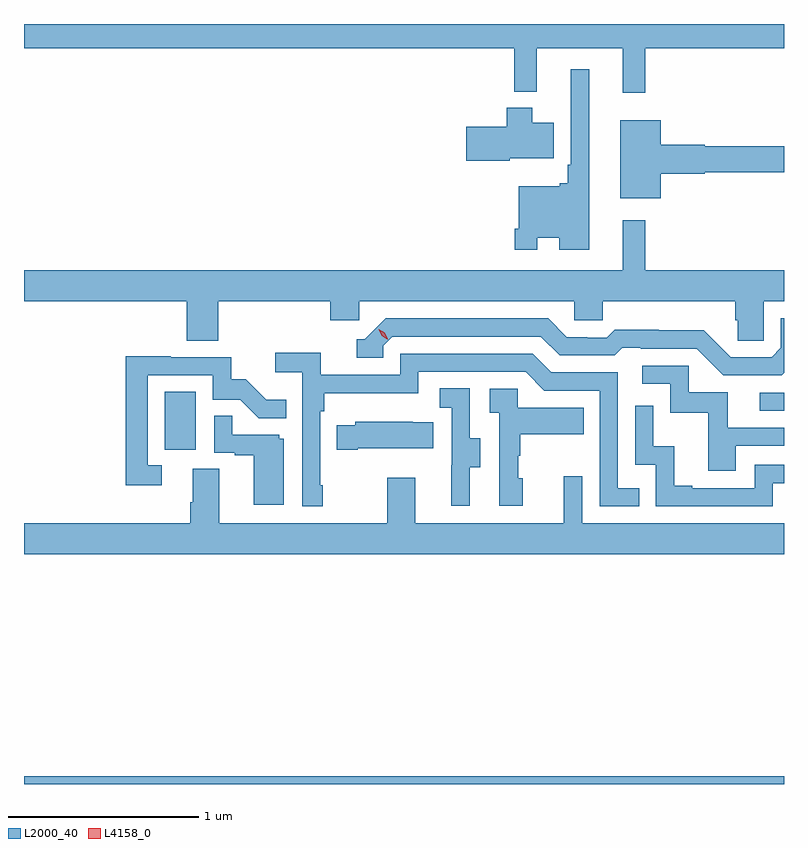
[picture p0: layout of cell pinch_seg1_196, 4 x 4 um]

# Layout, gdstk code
import gdstk
lib = gdstk.Library(unit=1e-6, precision=1e-09)
def R(c, l, rs):  # rectangles x0, y0, x1, y1
    for r in rs: c.add(gdstk.rectangle(r[:2], r[2:], *l))
def P(c, l, *ps):  # polygons
    for p in ps: c.add(gdstk.Polygon(p, *l))
L2000_40 = (2000, 40)
L4158_0 = (4158, 0)

pinch_seg1_196 = lib.new_cell('pinch_seg1_196')
R(pinch_seg1_196, L2000_40, [(1007.958,573.168,1011.958,573.208), (1008.698,574.926,1008.862,575.233), (1011.831,575.133,1011.958,575.226)])
P(pinch_seg1_196, L2000_40, [(1011.227,577.04),(1011.958,577.04),(1011.958,577.168),(1007.958,577.168),(1007.958,577.04),(1010.539,577.04),(1010.539,576.812),(1010.657,576.812),(1010.657,577.04),(1011.11,577.04),(1011.11,576.807),(1011.227,576.807)],
  [(1010.658,576.044),(1010.774,576.044),(1010.774,575.979),(1010.932,575.979),(1010.932,576.931),(1010.835,576.931),(1010.835,576.427),(1010.819,576.427),(1010.819,576.331),(1010.778,576.331),(1010.778,576.313),(1010.562,576.313),(1010.562,576.091),(1010.542,576.091),(1010.542,575.979),(1010.658,575.979)],
  [(1010.514,576.462),(1010.745,576.462),(1010.745,576.649),(1010.632,576.649),(1010.632,576.727),(1010.498,576.727),(1010.498,576.627),(1010.286,576.627),(1010.286,576.449),(1010.514,576.449)],
  [(1011.31,576.38),(1011.54,576.38),(1011.54,576.388),(1011.958,576.388),(1011.958,576.524),(1011.54,576.524),(1011.54,576.532),(1011.31,576.532),(1011.31,576.661),(1011.095,576.661),(1011.095,576.251),(1011.31,576.251)],
  [(1008.98,575.708),(1009.571,575.708),(1009.571,575.61),(1009.722,575.61),(1009.722,575.708),(1010.853,575.708),(1010.853,575.61),(1011.003,575.61),(1011.003,575.708),(1011.701,575.708),(1011.701,575.61),(1011.715,575.61),(1011.715,575.5),(1011.852,575.5),(1011.852,575.708),(1011.958,575.708),(1011.958,575.872),(1011.227,575.872),(1011.227,576.136),(1011.11,576.136),(1011.11,575.872),(1007.958,575.872),(1007.958,575.708),(1008.815,575.708),(1008.815,575.5),(1008.98,575.5)],
  [(1011.958,575.332),(1011.958,575.619),(1011.942,575.619),(1011.942,575.463),(1011.894,575.415),(1011.678,575.415),(1011.536,575.557),(1011.3,575.557),(1011.3,575.56),(1011.067,575.56),(1011.025,575.517),(1010.922,575.517),(1010.922,575.52),(1010.815,575.52),(1010.716,575.619),(1009.863,575.619),(1009.752,575.508),(1009.709,575.508),(1009.709,575.412),(1009.848,575.412),(1009.848,575.475),(1009.896,575.523),(1010.679,575.523),(1010.778,575.424),(1011.067,575.424),(1011.106,575.463),(1011.205,575.463),(1011.205,575.46),(1011.498,575.46),(1011.639,575.319),(1011.945,575.319)],
  [(1009.531,574.741),(1009.518,574.741),(1009.518,575.129),(1009.538,575.129),(1009.538,575.225),(1010.034,575.225),(1010.034,575.337),(1010.598,575.337),(1010.697,575.238),(1010.988,575.238),(1010.988,574.629),(1011.197,574.629),(1011.197,574.725),(1011.084,574.725),(1011.084,575.334),(1010.734,575.334),(1010.635,575.433),(1009.938,575.433),(1009.938,575.322),(1009.52,575.322),(1009.52,575.438),(1009.281,575.438),(1009.281,575.336),(1009.422,575.336),(1009.422,574.629),(1009.531,574.629)],
  [(1008.682,574.845),(1008.609,574.845),(1008.609,575.319),(1008.951,575.319),(1008.951,575.19),(1009.095,575.19),(1009.193,575.092),(1009.337,575.092),(1009.337,575.191),(1009.233,575.191),(1009.126,575.298),(1009.05,575.298),(1009.05,575.415),(1008.731,575.415),(1008.731,575.42),(1008.493,575.42),(1008.493,574.74),(1008.682,574.74)],
  [(1011.703,574.947),(1011.958,574.947),(1011.958,575.043),(1011.661,575.043),(1011.661,575.229),(1011.456,575.229),(1011.456,575.37),(1011.213,575.37),(1011.213,575.274),(1011.36,575.274),(1011.36,575.121),(1011.559,575.121),(1011.559,574.818),(1011.703,574.818)],
  [(1010.305,574.834),(1010.359,574.834),(1010.359,574.989),(1010.304,574.989),(1010.304,575.252),(1010.145,575.252),(1010.145,575.149),(1010.208,575.149),(1010.208,574.845),(1010.207,574.845),(1010.207,574.632),(1010.305,574.632)],
  [(1010.584,574.776),(1010.559,574.776),(1010.559,574.895),(1010.569,574.895),(1010.569,575.009),(1010.903,575.009),(1010.903,575.149),(1010.556,575.149),(1010.556,575.247),(1010.409,575.247),(1010.409,575.123),(1010.46,575.123),(1010.46,574.632),(1010.584,574.632)],
  [(1011.9,574.752),(1011.958,574.752),(1011.958,574.848),(1011.804,574.848),(1011.804,574.725),(1011.475,574.725),(1011.475,574.738),(1011.38,574.738),(1011.38,574.946),(1011.27,574.946),(1011.27,575.158),(1011.174,575.158),(1011.174,574.848),(1011.282,574.848),(1011.282,574.629),(1011.9,574.629)],
  [(1009.324,574.986),(1009.302,574.986),(1009.302,575.007),(1009.055,575.007),(1009.055,575.105),(1008.96,575.105),(1008.96,574.911),(1009.067,574.911),(1009.067,574.899),(1009.166,574.899),(1009.166,574.638),(1009.324,574.638)],
  [(1009.714,574.934),(1010.111,574.934),(1010.111,575.071),(1010.003,575.071),(1010.003,575.074),(1009.701,575.074),(1009.701,575.056),(1009.603,575.056),(1009.603,574.927),(1009.714,574.927)],
  [(1011.958,574.54),(1010.895,574.54),(1010.895,574.789),(1010.798,574.789),(1010.798,574.54),(1010.017,574.54),(1010.017,574.78),(1009.87,574.78),(1009.87,574.54),(1008.985,574.54),(1008.985,574.826),(1008.845,574.826),(1008.845,574.652),(1008.833,574.652),(1008.833,574.54),(1007.958,574.54),(1007.958,574.376),(1011.958,574.376)])
P(pinch_seg1_196, L4158_0, [(1009.871,575.508),(1009.841,575.528),(1009.825,575.561),(1009.825,575.561),(1009.825,575.561),(1009.856,575.542),(1009.872,575.509),(1009.872,575.508)])

lib.write_gds('pinch_seg1_196.gds')
